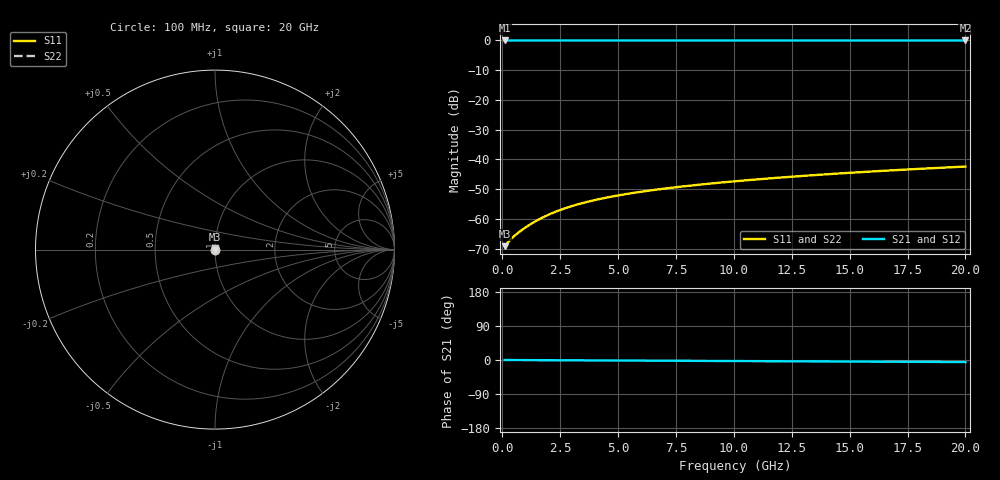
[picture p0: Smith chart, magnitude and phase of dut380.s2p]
! Touchstone file exported from HFSS 2026.1.0
!  File:  C:/ffzhzh/LocalFiles/Ansys_Project_Files/temp_train_TSV_380_1783019778_4048.aedt
!  Generated:  03:18:25 AM Jul  3, 2026
!  Design:  TSV
!  Project:  temp_train_TSV_380_1783019778_4048
! Variables:
!  h_bsmrdl = 2um
!  h_ox = 20um
!  h_rdl = 5um
!  h_sub = 56.07um
!  h_tmrdl = 5um
!  h_tsv = 56.07um
!  h_via = 3um
!  l_bsmrdl = 300um
!  l_sub = 409.24um
!  l_tmrdl = 200um
!  m_sub = 200um
!  pitch = 20.64um
!  r_tsv = 4.62um
!  s_tmrdl = 10um
!  w_bsmrdl = 18um
!  w_sub = 500um
!  w_tmrdl = 12um
!  x_tsv_center1 = 206um
!  x_tsv_center2 = 524um
!  x_tsv_center3 = 736um
!  x_tsv_center4 = 1054um
!  x_tsv_center5 = 1266um
!  x_tsv_center6 = 1584um
# GHz S MA R 50.000000
! Terminal data exported
! Port[1] = TSV1_1_T1
! Port[2] = TSV1_1_T2
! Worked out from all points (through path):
!   200 points, 100 MHz to 20 GHz, reference 50 ohm
!   highest |S21| = 0.00 dB at 100 MHz (marker M1); lowest = 0.0 dB at 20 GHz (marker M2)
!   lowest |S11| = -69.2 dB at 100 MHz (marker M3), VSWR 1.00, Z = 50 + j0.0078 ohm
!   |S11| at or under -10 dB: start of sweep to end of sweep
!   |S22| runs from -69.2 to -42.4 dB; largest |S21 - S12| = 2e-15
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0.1  0.000348 12.9  0.9997 -0.0  0.9997 -0.0  0.000348 12.9
! Gamma 0 0 0 0
! Port Impedance 50 0 50 0
0.3  0.0004277 29.0  0.9996 -0.1  0.9996 -0.1  0.0004277 29.0
0.4  0.0004695 33.8  0.9996 -0.1  0.9996 -0.1  0.0004695 33.8
0.6  0.0005502 41.1  0.9996 -0.2  0.9996 -0.2  0.0005502 41.1
0.8  0.000632 46.8  0.9996 -0.2  0.9996 -0.2  0.000632 46.8
1  0.0007173 51.2  0.9995 -0.3  0.9995 -0.3  0.0007173 51.2
1.2  0.0008061 54.7  0.9995 -0.3  0.9995 -0.3  0.0008061 54.7
1.5  0.0009438 58.5  0.9995 -0.4  0.9995 -0.4  0.0009438 58.5
1.9  0.001131 61.9  0.9995 -0.5  0.9995 -0.5  0.001131 61.9
2.4  0.001366 64.5  0.9994 -0.7  0.9994 -0.7  0.001366 64.5
2.9  0.001595 65.9  0.9994 -0.8  0.9994 -0.8  0.001595 65.9
3.5  0.001862 67.0  0.9993 -1.0  0.9993 -1.0  0.001862 67.0
4.2  0.002159 67.6  0.9992 -1.2  0.9992 -1.2  0.002159 67.6
5  0.002481 68.1  0.9991 -1.4  0.9991 -1.4  0.002481 68.1
5.8  0.002789 68.5  0.999 -1.6  0.999 -1.6  0.002789 68.5
6.8  0.003158 68.8  0.999 -1.9  0.999 -1.9  0.003158 68.8
8.3  0.00369 69.4  0.9988 -2.3  0.9988 -2.3  0.00369 69.4
10.1  0.004311 69.9  0.9987 -2.8  0.9987 -2.8  0.00431 69.9
11.7  0.004853 70.3  0.9986 -3.2  0.9986 -3.2  0.004853 70.3
13.4  0.005423 70.6  0.9985 -3.7  0.9985 -3.7  0.005423 70.6
16.7  0.006516 70.8  0.9983 -4.6  0.9983 -4.6  0.006516 70.8
20  0.007586 70.7  0.9982 -5.4  0.9982 -5.4  0.007586 70.7
